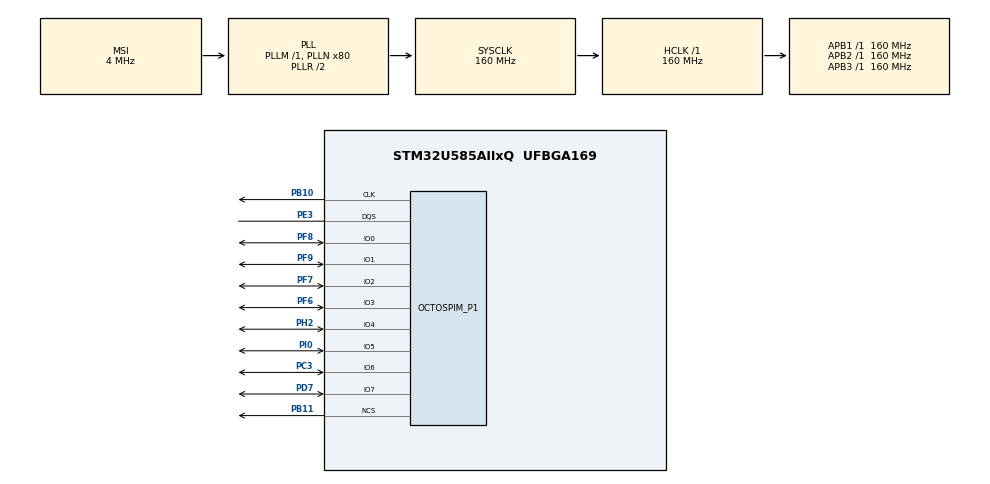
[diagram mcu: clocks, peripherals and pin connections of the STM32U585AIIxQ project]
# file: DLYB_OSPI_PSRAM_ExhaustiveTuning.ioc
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CORTEX_M33_NS.userName=CORTEX_M33
Mcu.Family=STM32U5
Mcu.Name=STM32U585AIIxQ
Mcu.Package=UFBGA169
NVIC.OCTOSPI1_IRQn=true\:0\:0\:false\:false\:true\:true\:true\:true
NVIC.PriorityGroup=NVIC_PRIORITYGROUP_4
OCTOSPI1.ChipSelectBoundary=10
OCTOSPI1.ClockPrescaler=2
OCTOSPI1.DelayBlockBypass=HAL_OSPI_DELAY_BLOCK_USED
OCTOSPI1.DelayHoldQuarterCycle=HAL_OSPI_DHQC_ENABLE
OCTOSPI1.DeviceSize=23
OCTOSPI1.FifoThreshold=4
OCTOSPI1.MemoryType=HAL_OSPI_MEMTYPE_APMEMORY
OCTOSPI1.WrapSize=HAL_OSPI_WRAP_32_BYTES
PB10.GPIO_Speed_High_Default=GPIO_SPEED_FREQ_HIGH
PB10.Mode=O1_P1_CLK
PB10.Signal=OCTOSPIM_P1_CLK
PB11.GPIO_PuPd=GPIO_NOPULL
PB11.GPIO_Speed_High_Default=GPIO_SPEED_FREQ_HIGH
PB11.Mode=OCTOSPI1_Port1_NCS
PB11.Signal=OCTOSPIM_P1_NCS
PC3.GPIO_Speed_High_Default=GPIO_SPEED_FREQ_HIGH
PC3.Mode=OCTOSPI1_IOH_Port1H
PC3.Signal=OCTOSPIM_P1_IO6
PD7.GPIO_Speed_High_Default=GPIO_SPEED_FREQ_HIGH
PD7.Mode=OCTOSPI1_IOH_Port1H
PD7.Signal=OCTOSPIM_P1_IO7
PE3.GPIO_Speed_High_Default=GPIO_SPEED_FREQ_HIGH
PE3.Mode=OCTOSPI1_Port1_DQS
PE3.Signal=OCTOSPIM_P1_DQS
PF6.GPIO_Speed_High_Default=GPIO_SPEED_FREQ_HIGH
PF6.Mode=OCTOSPI1_IOL_Port1L
PF6.Signal=OCTOSPIM_P1_IO3
PF7.GPIO_Speed_High_Default=GPIO_SPEED_FREQ_HIGH
PF7.Mode=OCTOSPI1_IOL_Port1L
PF7.Signal=OCTOSPIM_P1_IO2
PF8.GPIO_Speed_High_Default=GPIO_SPEED_FREQ_HIGH
PF8.Mode=OCTOSPI1_IOL_Port1L
PF8.Signal=OCTOSPIM_P1_IO0
PF9.GPIO_Speed_High_Default=GPIO_SPEED_FREQ_HIGH
PF9.Mode=OCTOSPI1_IOL_Port1L
PF9.Signal=OCTOSPIM_P1_IO1
PH2.GPIO_Speed_High_Default=GPIO_SPEED_FREQ_HIGH
PH2.Mode=OCTOSPI1_IOH_Port1H
PH2.Signal=OCTOSPIM_P1_IO4
PI0.GPIO_Speed_High_Default=GPIO_SPEED_FREQ_HIGH
PI0.Mode=OCTOSPI1_IOH_Port1H
PI0.Signal=OCTOSPIM_P1_IO5
PWR.PowerMode=PWR_SMPS_SUPPLY
ProjectManager.HeapSize=0x200
ProjectManager.StackSize=0x400
ProjectManager.TargetToolchain=EWARM V8.50
RCC.ADCFreq_Value=16000000
RCC.AHBFreq_Value=160000000
RCC.APB1Freq_Value=160000000
RCC.APB1TimFreq_Value=160000000
RCC.APB2Freq_Value=160000000
RCC.APB2TimFreq_Value=160000000
RCC.APB3Freq_Value=160000000
RCC.CortexFreq_Value=160000000
RCC.DACCLockSelectionVirtual=RCC_DAC1CLKSOURCE_LSI
RCC.DACCLockSelectionVirtualString=RCC_DAC1CLKSOURCE_LSI
RCC.EPOD_VALUE=4000000
RCC.HCLKFreq_Value=160000000
RCC.HSE_VALUE=16000000
RCC.HSI48_VALUE=48000000
RCC.HSI_VALUE=16000000
RCC.LSE_VALUE=32768
RCC.LSIDIV_VALUE=32000
RCC.MSI_VALUE=4000000
RCC.PLLN=80
RCC.SYSCLKFreq_VALUE=160000000
RCC.SYSCLKSource=RCC_SYSCLKSOURCE_PLLCLK
RCC.USBFreq_Value=48000000
RCC.VCOOutputFreq_Value=320000000
VP_ICACHE_VS_ICACHE.Mode=DirectMappedCache
VP_LPBAMQUEUE_VS_QUEUE.Mode=QUEUEMODE
VP_LPBAM_VS_SIG1.Mode=SmartRun
VP_LPBAM_VS_SIG4.Mode=LPDMA1
VP_OCTOSPI1_VS_octo.Mode=octo_mode
VP_PWR_VS_DBSignals.Mode=DisableDeadBatterySignals
VP_PWR_VS_LPOM.Mode=PowerOptimisation
VP_PWR_VS_SECSignals.Mode=Security/Privilege
board=custom

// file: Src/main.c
/* USER CODE BEGIN Header */
/**
  ******************************************************************************
  * @file           : main.c
  * @brief          : Main program body
  ******************************************************************************
  * @attention
  *
  * Copyright (c) 2021 STMicroelectronics.
  * All rights reserved.
  *
  * This software is licensed under terms that can be found in the LICENSE file
  * in the root directory of this software component.
  * If no LICENSE file comes with this software, it is provided AS-IS.
  *
  ******************************************************************************
  */
/* USER CODE END Header */
#include "main.h"

/* USER CODE BEGIN PD */
#if defined(__GNUC__) && !defined(__ARMCC_VERSION)
extern void initialise_monitor_handles(void);
#endif
/* USER CODE END PD */

OSPI_HandleTypeDef hospi1;

/* USER CODE BEGIN PV */
__IO uint8_t CmdCplt;
LL_DLYB_CfgTypeDef dlyb_cfg,dlyb_cfg_test;
__IO   uint32_t ok=0,ko=0,k;
uint32_t sel;
uint32_t unit;
uint32_t jj;
uint32_t ii;

/* Buffer used for transmission */
uint8_t TX_Buffer[BUFFER_LENGTH];
uint8_t RX_Buffer[BUFFER_LENGTH];
/* USER CODE END PV */

void SystemClock_Config(void);
static void SystemPower_Config(void);
static void MX_GPIO_Init(void);
static void MX_ICACHE_Init(void);
static void MX_OCTOSPI1_Init(void);

int main(void)
{

  /* USER CODE BEGIN 1 */
#if defined(__GNUC__) && !defined(__ARMCC_VERSION)
  initialise_monitor_handles();	/*rtt*/
  printf("Semihosting Test...\n\r");
#endif

  /* STM32U5xx HAL library initialization:
       - Configure the Flash prefetch
       - Configure the Systick to generate an interrupt each 1 msec
       - Set NVIC Group Priority to 3
       - Low Level Initialization
     */
  /* USER CODE END 1 */

  /* MCU Configuration--------------------------------------------------------*/

  /* Reset of all peripherals, Initializes the Flash interface and the Systick. */
  HAL_Init();

  /* USER CODE BEGIN Init */
  uint16_t index;
  OSPI_RegularCmdTypeDef sCommand = {0};
  /* USER CODE END Init */

  /* Configure the System Power */
  SystemPower_Config();

  /* Configure the system clock */
  SystemClock_Config();

  /* USER CODE BEGIN SysInit */
  /* Configure LED6, LED7 */
  BSP_LED_Init(LED6);
  BSP_LED_Init(LED7);

  /* Turn LED6, LED7 off */
  BSP_LED_Off(LED6);
  BSP_LED_Off(LED7);

  /*fill aTxBuffer */
  for (index = 0; index < BUFFER_LENGTH; index++)
  {
    TX_Buffer[index] = index;
  }
  /* USER CODE END SysInit */

  /* Initialize all configured peripherals */
  MX_GPIO_Init();
  MX_ICACHE_Init();
  MX_OCTOSPI1_Init();
  /* USER CODE BEGIN 2 */
  /*  Writing Sequence ------------------------------------------------ */
  sCommand.OperationType      = HAL_OSPI_OPTYPE_COMMON_CFG;
  sCommand.FlashId            = HAL_OSPI_FLASH_ID_1;
  sCommand.InstructionMode    = HAL_OSPI_INSTRUCTION_8_LINES;
  sCommand.InstructionSize    = HAL_OSPI_INSTRUCTION_8_BITS;
  sCommand.InstructionDtrMode = HAL_OSPI_INSTRUCTION_DTR_DISABLE;
  sCommand.AddressMode        = HAL_OSPI_ADDRESS_8_LINES;
  sCommand.AddressSize        = HAL_OSPI_ADDRESS_32_BITS;
  sCommand.AddressDtrMode     = HAL_OSPI_ADDRESS_DTR_ENABLE;
  sCommand.AlternateBytesMode = HAL_OSPI_ALTERNATE_BYTES_NONE;
  sCommand.DataMode           = HAL_OSPI_DATA_8_LINES;
  sCommand.DataDtrMode        = HAL_OSPI_DATA_DTR_ENABLE;
  sCommand.DQSMode            = HAL_OSPI_DQS_ENABLE;
  sCommand.SIOOMode           = HAL_OSPI_SIOO_INST_EVERY_CMD;
  sCommand.Instruction        = WRITE_CMD;
  sCommand.Address            = 0x0;
  sCommand.NbData             = BUFFER_LENGTH;
  sCommand.DummyCycles        = DUMMY_CLOCK_CYCLES_WRITE;

  if (HAL_OSPI_Command(&hospi1, &sCommand, HAL_OSPI_TIMEOUT_DEFAULT_VALUE) != HAL_OK)
  {
    Error_Handler();
  }

  if (HAL_OSPI_Transmit(&hospi1, TX_Buffer, HAL_OSPI_TIMEOUT_DEFAULT_VALUE) != HAL_OK)
  {
    Error_Handler();
  }

  /*  Tuning Sequence ------------------------------------------------ */
  //StartTest();
  printf(" ###################### Start Tuning ######################### \n");
  for( jj=0; jj<(DLYB_MAX_SELECT*DLYB_MAX_UNIT); jj++ )
  {
    ko=0;/*it will mentions if test is ok or not*/

    /* Search the combination SEL / UNIT to obtain the total delay jj*/
    for( sel=1; sel<(DLYB_MAX_SELECT+1); sel++ )
    {
      if( ((jj%sel)==0) && ((jj/sel)<DLYB_MAX_UNIT) )
      {
        unit = jj/sel;
        break;
      }
    }
    if( sel==(DLYB_MAX_SELECT+1) ) continue;  /* value not reachable */

    /* Delay Block Configuration */
    dlyb_cfg.PhaseSel =sel;
    dlyb_cfg.Units =unit;

    /* DeInit OCTOSPI ------------------------------------------------ */
    HAL_OSPI_DeInit(&hospi1);

    /* Re-init octospi to clear communication configuration */
    MX_OCTOSPI1_Init();

    /*Set Delay Block configuration*/
    HAL_OSPI_DLYB_SetConfig(&hospi1,&dlyb_cfg);

    /* Reading Sequence (repeating 100 time read operation) ------------------ */
    for(k=0;k<100;k++)
    {
      for( ii=BUFFER_LENGTH; ii>0; ii-- )
      {RX_Buffer[ii-1] =0;}

      sCommand.Instruction = READ_CMD;
      sCommand.DummyCycles = DUMMY_CLOCK_CYCLES_READ;
      sCommand.DQSMode     = HAL_OSPI_DQS_ENABLE;

      if (HAL_OSPI_Command(&hospi1, &sCommand, HAL_OSPI_TIMEOUT_DEFAULT_VALUE) != HAL_OK)
      {
        Error_Handler();
      }

      if (HAL_OSPI_Receive(&hospi1, RX_Buffer, HAL_OSPI_TIMEOUT_DEFAULT_VALUE) != HAL_OK)
      {
        ko ++;
        break;
      }

      /* 3- Result comparison ----------------------------------------------- */
      for (index = 0; index < BUFFER_LENGTH; index++)
      {
        if (RX_Buffer[index] != TX_Buffer[index])
        {
          ko ++;
          break;
        }
      }
    }

    /* Toggle Green led, Tuning is processing-------------------------------- */
    BSP_LED_Toggle(LED7);
    HAL_Delay (10);

    /* Print Result --------------------------------------------------------- */
    if (ko>0)
    {
      printf (" delay= %u, Sel = %u , Unit = %u , Test FAILED \n",jj, sel, unit);
    }
    else
    {
      printf (" delay= %u, Sel = %u , Unit = %u , Test PASSED \n",jj, sel, unit);
    }
  }

  /* End Tuning------------------------------------------------ */
  printf (" ###################### End Tuning #########################\n");
  BSP_LED_On(LED7);
  /* USER CODE END 2 */

  /* Infinite loop */
  while (1)
  {

  }
}

void SystemClock_Config(void)
{
  RCC_OscInitTypeDef RCC_OscInitStruct = {0};
  RCC_ClkInitTypeDef RCC_ClkInitStruct = {0};

  /** Configure the main internal regulator output voltage
  */
  if (HAL_PWREx_ControlVoltageScaling(PWR_REGULATOR_VOLTAGE_SCALE1) != HAL_OK)
  {
    Error_Handler();
  }

  /** Initializes the CPU, AHB and APB buses clocks
  */
  RCC_OscInitStruct.OscillatorType = RCC_OSCILLATORTYPE_MSI;
  RCC_OscInitStruct.MSIState = RCC_MSI_ON;
  RCC_OscInitStruct.MSICalibrationValue = RCC_MSICALIBRATION_DEFAULT;
  RCC_OscInitStruct.MSIClockRange = RCC_MSIRANGE_4;
  RCC_OscInitStruct.PLL.PLLState = RCC_PLL_ON;
  RCC_OscInitStruct.PLL.PLLSource = RCC_PLLSOURCE_MSI;
  RCC_OscInitStruct.PLL.PLLMBOOST = RCC_PLLMBOOST_DIV1;
  RCC_OscInitStruct.PLL.PLLM = 1;
  RCC_OscInitStruct.PLL.PLLN = 80;
  RCC_OscInitStruct.PLL.PLLP = 2;
  RCC_OscInitStruct.PLL.PLLQ = 2;
  RCC_OscInitStruct.PLL.PLLR = 2;
  RCC_OscInitStruct.PLL.PLLRGE = RCC_PLLVCIRANGE_0;
  RCC_OscInitStruct.PLL.PLLFRACN = 0;
  if (HAL_RCC_OscConfig(&RCC_OscInitStruct) != HAL_OK)
  {
    Error_Handler();
  }

  /** Initializes the CPU, AHB and APB buses clocks
  */
  RCC_ClkInitStruct.ClockType = RCC_CLOCKTYPE_HCLK|RCC_CLOCKTYPE_SYSCLK
                              |RCC_CLOCKTYPE_PCLK1|RCC_CLOCKTYPE_PCLK2
                              |RCC_CLOCKTYPE_PCLK3;
  RCC_ClkInitStruct.SYSCLKSource = RCC_SYSCLKSOURCE_PLLCLK;
  RCC_ClkInitStruct.AHBCLKDivider = RCC_SYSCLK_DIV1;
  RCC_ClkInitStruct.APB1CLKDivider = RCC_HCLK_DIV1;
  RCC_ClkInitStruct.APB2CLKDivider = RCC_HCLK_DIV1;
  RCC_ClkInitStruct.APB3CLKDivider = RCC_HCLK_DIV1;

  if (HAL_RCC_ClockConfig(&RCC_ClkInitStruct, FLASH_LATENCY_4) != HAL_OK)
  {
    Error_Handler();
  }
}

/**
  * @brief Power Configuration
  * @retval None
  */
static void SystemPower_Config(void)
{

  /*
   * Disable the internal Pull-Up in Dead Battery pins of UCPD peripheral
   */
  HAL_PWREx_DisableUCPDDeadBattery();

  /*
   * Switch to SMPS regulator instead of LDO
   */
  if (HAL_PWREx_ConfigSupply(PWR_SMPS_SUPPLY) != HAL_OK)
  {
    Error_Handler();
  }
}

static void MX_ICACHE_Init(void)
{

  /** Enable instruction cache in 1-way (direct mapped cache)
  */
  if (HAL_ICACHE_ConfigAssociativityMode(ICACHE_1WAY) != HAL_OK)
  {
    Error_Handler();
  }
  if (HAL_ICACHE_Enable() != HAL_OK)
  {
    Error_Handler();
  }

}

static void MX_OCTOSPI1_Init(void)
{

  OSPIM_CfgTypeDef sOspiManagerCfg = {0};
  HAL_OSPI_DLYB_CfgTypeDef HAL_OSPI_DLYB_Cfg_Struct = {0};

  /* OCTOSPI1 parameter configuration*/
  hospi1.Instance = OCTOSPI1;
  hospi1.Init.FifoThreshold = 4;
  hospi1.Init.DualQuad = HAL_OSPI_DUALQUAD_DISABLE;
  hospi1.Init.MemoryType = HAL_OSPI_MEMTYPE_APMEMORY;
  hospi1.Init.DeviceSize = 23;
  hospi1.Init.ChipSelectHighTime = 1;
  hospi1.Init.FreeRunningClock = HAL_OSPI_FREERUNCLK_DISABLE;
  hospi1.Init.ClockMode = HAL_OSPI_CLOCK_MODE_0;
  hospi1.Init.WrapSize = HAL_OSPI_WRAP_32_BYTES;
  hospi1.Init.ClockPrescaler = 2;
  hospi1.Init.SampleShifting = HAL_OSPI_SAMPLE_SHIFTING_NONE;
  hospi1.Init.DelayHoldQuarterCycle = HAL_OSPI_DHQC_ENABLE;
  hospi1.Init.ChipSelectBoundary = 10;
  hospi1.Init.DelayBlockBypass = HAL_OSPI_DELAY_BLOCK_USED;
  hospi1.Init.MaxTran = 0;
  hospi1.Init.Refresh = 0;
  if (HAL_OSPI_Init(&hospi1) != HAL_OK)
  {
    Error_Handler();
  }
  sOspiManagerCfg.ClkPort = 1;
  sOspiManagerCfg.DQSPort = 1;
  sOspiManagerCfg.NCSPort = 1;
  sOspiManagerCfg.IOLowPort = HAL_OSPIM_IOPORT_1_LOW;
  sOspiManagerCfg.IOHighPort = HAL_OSPIM_IOPORT_1_HIGH;
  if (HAL_OSPIM_Config(&hospi1, &sOspiManagerCfg, HAL_OSPI_TIMEOUT_DEFAULT_VALUE) != HAL_OK)
  {
    Error_Handler();
  }
  HAL_OSPI_DLYB_Cfg_Struct.Units = 0;
  HAL_OSPI_DLYB_Cfg_Struct.PhaseSel = 0;
  if (HAL_OSPI_DLYB_SetConfig(&hospi1, &HAL_OSPI_DLYB_Cfg_Struct) != HAL_OK)
  {
    Error_Handler();
  }

}

static void MX_GPIO_Init(void)
{

  /* GPIO Ports Clock Enable */
  __HAL_RCC_GPIOI_CLK_ENABLE();
  __HAL_RCC_GPIOE_CLK_ENABLE();
  __HAL_RCC_GPIOD_CLK_ENABLE();
  __HAL_RCC_GPIOF_CLK_ENABLE();
  __HAL_RCC_GPIOH_CLK_ENABLE();
  __HAL_RCC_GPIOC_CLK_ENABLE();
  __HAL_RCC_GPIOB_CLK_ENABLE();

}

void Error_Handler(void)
{
  /* USER CODE BEGIN Error_Handler_Debug */
  /* User can add his own implementation to report the HAL error return state */
  __disable_irq();
  while (1)
  {
    HAL_Delay(100);
    BSP_LED_Toggle(LED_RED);
  }
  /* USER CODE END Error_Handler_Debug */
}
